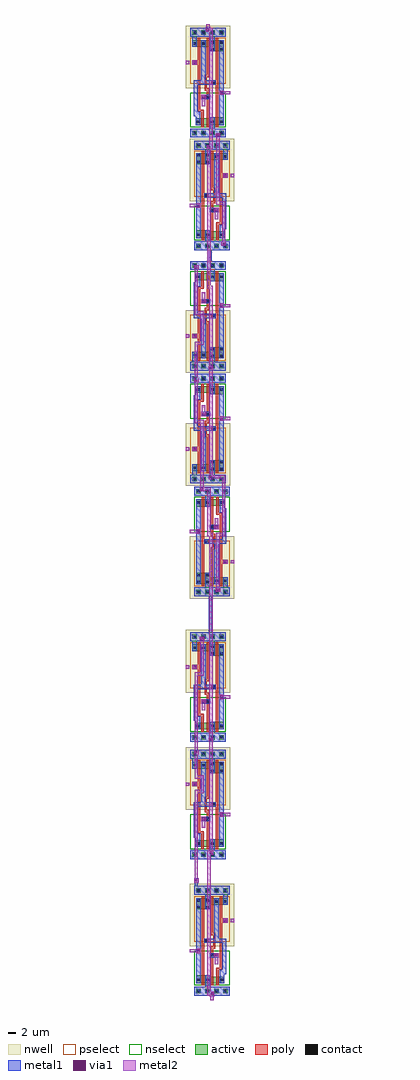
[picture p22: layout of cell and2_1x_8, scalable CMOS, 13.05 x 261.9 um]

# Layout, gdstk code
from math import pi, radians
import gdstk
lib = gdstk.Library(unit=1e-6, precision=1e-09)
def R(c, l, rs):  # rectangles x0, y0, x1, y1
    for r in rs: c.add(gdstk.rectangle(r[:2], r[2:], *l))
def A(c, l, x, y, w, h, nx, ny, dx, dy):  # array of equal rectangles
    R(c, l, [(x+i*dx, y+j*dy, x+i*dx+w, y+j*dy+h) for i in range(nx) for j in range(ny)])
def P(c, l, *ps):  # polygons
    for p in ps: c.add(gdstk.Polygon(p, *l))
contact = (25, 0)
nwell = (42, 0)
active = (43, 0)
pselect = (44, 0)
nselect = (45, 0)
poly = (46, 0)
metal1 = (49, 0)
via1 = (50, 0)
metal2 = (51, 0)

and2_1x = lib.new_cell('and2_1x')
A(and2_1x, contact, 0.9, -0.3, 0.6, 0.6, 4, 2, 2.4, 27)
R(and2_1x, contact, [(0.9,2.7,1.5,3.3), (3.3,2.7,3.9,3.3), (7.2,2.7,7.8,3.3), (4.5,9.3,5.1,9.9), (3,13.2,3.6,13.8), (8.1,18.6,8.7,19.2), (0.9,22.2,1.5,22.8), (3.3,22.2,3.9,22.8), (5.7,23.7,6.3,24.3), (8.1,23.7,8.7,24.3), (0.9,24,1.5,24.6), (3.3,24,3.9,24.6)])
R(and2_1x, nwell, [(-1.2,12,10.8,28.8)])
A(and2_1x, active, 0.6, -0.6, 1.2, 1.2, 4, 2, 2.4, 27)
P(and2_1x, active, [(9,24.9),(0.6,24.9),(0.6,21.9),(4.2,21.9),(4.2,23.1),(9,23.1)],
  [(8.1,3.9),(4.2,3.9),(4.2,4.2),(0.6,4.2),(0.6,2.1),(8.1,2.1)])
R(and2_1x, pselect, [(0,-1.2,9.6,1.2), (0,13.2,9.6,25.5)])
R(and2_1x, nselect, [(0,1.5,9.6,10.8), (0,25.8,9.6,28.2)])
P(and2_1x, poly, [(3.9,14.1),(2.7,14.1),(2.7,25.5),(2.1,25.5),(2.1,1.5),(2.7,1.5),(2.7,12.9),(3.9,12.9)],
  [(5.7,15.6),(5.1,15.6),(5.1,25.5),(4.5,25.5),(4.5,15),(5.1,15),(5.1,12),(4.5,12),(4.5,10.2),(4.2,10.2),(4.2,9),(4.5,9),(4.5,1.5),(5.1,1.5),(5.1,9),(5.4,9),(5.4,10.2),(5.1,10.2),(5.1,11.4),(5.7,11.4)],
  [(9,19.5),(7.5,19.5),(7.5,25.5),(6.9,25.5),(6.9,6.3),(6,6.3),(6,1.5),(6.6,1.5),(6.6,5.7),(7.5,5.7),(7.5,18.3),(9,18.3)])
R(and2_1x, metal1, [(0,-1.2,9.6,1.2), (0.6,2.1,1.8,24.9), (4.2,9,6.6,10.2), (7.8,18.3,9,19.5), (0,25.8,9.6,28.2)])
P(and2_1x, metal1, [(8.7,14.1),(6.6,14.1),(6.6,24.9),(5.4,24.9),(5.4,14.1),(2.7,14.1),(2.7,12.9),(7.5,12.9),(7.5,5.7),(6.9,5.7),(6.9,2.1),(8.1,2.1),(8.1,4.5),(8.7,4.5)],
  [(9.6,28.2),(0,28.2),(0,25.8),(3,25.8),(3,21.9),(4.2,21.9),(4.2,25.8),(7.8,25.8),(7.8,23.1),(9,23.1),(9,25.8),(9.6,25.8)],
  [(9.6,1.2),(4.2,1.2),(4.2,4.2),(3,4.2),(3,1.2),(0,1.2),(0,-1.2),(9.6,-1.2)])
R(and2_1x, via1, [(5.7,9.3,6.3,9.9), (0.9,10.5,1.5,11.1), (8.1,18.6,8.7,19.2)])
R(and2_1x, metal2, [(5.4,9,6.6,10.2), (0.6,10.2,1.8,11.4), (7.8,18.3,9,19.5)])

m2_m1_cdns_670792537452 = lib.new_cell('M2_M1_CDNS_670792537452')
R(m2_m1_cdns_670792537452, metal1, [(-0.6,-0.6,0.6,0.6)])
R(m2_m1_cdns_670792537452, via1, [(-0.3,-0.3,0.3,0.3)])
R(m2_m1_cdns_670792537452, metal2, [(-0.6,-0.6,0.6,0.6)])

and2_1x_8 = lib.new_cell('and2_1x_8')
R(and2_1x_8, metal2, [(5.55,0,6.45,0.9), (6.75,9.6,7.65,10.5), (0,12.75,0.9,13.65), (11.1,20.85,12,21.75), (3.3,46.2,4.2,47.1), (10.05,49.35,10.95,50.25), (-1.05,57.45,-0.15,58.35), (3.3,77.7,4.2,78.6), (10.05,80.85,10.95,81.75), (-1.05,88.95,-0.15,89.85), (11.1,117.15,12,118.05), (0,125.25,0.9,126.15), (6.75,128.4,7.65,129.3), (-1.05,147.45,-0.15,148.35), (10.05,155.55,10.95,156.45), (3.3,158.7,4.2,159.6), (-1.05,177.75,-0.15,178.65), (10.05,185.85,10.95,186.75), (3.3,189,4.2,189.9), (6.75,209.55,7.65,210.45), (0,212.7,0.9,213.6), (11.1,220.8,12,221.7), (3.3,239.85,4.2,240.75), (10.05,243,10.95,243.9), (-1.05,251.1,-0.15,252), (4.5,261,5.4,261.9)])
and2_1x_8.add(gdstk.FlexPath([(0.45,213.15),(2.55,213.15)], 0.9, ends="extended", simple_path=True, layer=51, datatype=0))  # metal2
and2_1x_8.add(gdstk.FlexPath([(7.2,210),(7.2,212.1)], 0.9, ends="extended", simple_path=True, layer=51, datatype=0))  # metal2
and2_1x_8.add(gdstk.FlexPath([(0.45,13.2),(2.55,13.2)], 0.9, ends="extended", simple_path=True, layer=51, datatype=0))  # metal2
and2_1x_8.add(gdstk.FlexPath([(7.2,10.05),(7.2,12.15)], 0.9, ends="extended", simple_path=True, layer=51, datatype=0))  # metal2
and2_1x_8.add(gdstk.FlexPath([(0.45,125.7),(2.55,125.7)], 0.9, ends="extended", simple_path=True, layer=51, datatype=0))  # metal2
and2_1x_8.add(gdstk.FlexPath([(7.2,128.85),(7.2,126.75)], 0.9, ends="extended", simple_path=True, layer=51, datatype=0))  # metal2
and2_1x_8.add(gdstk.FlexPath([(10.5,156),(8.4,156)], 0.9, ends="extended", simple_path=True, layer=51, datatype=0))  # metal2
and2_1x_8.add(gdstk.FlexPath([(3.75,159.15),(3.75,157.05)], 0.9, ends="extended", simple_path=True, layer=51, datatype=0))  # metal2
and2_1x_8.add(gdstk.FlexPath([(10.5,243.45),(8.4,243.45)], 0.9, ends="extended", simple_path=True, layer=51, datatype=0))  # metal2
and2_1x_8.add(gdstk.FlexPath([(3.75,240.3),(3.75,242.4)], 0.9, ends="extended", simple_path=True, layer=51, datatype=0))  # metal2
and2_1x_8.add(gdstk.FlexPath([(10.5,81.3),(8.4,81.3)], 0.9, ends="extended", simple_path=True, layer=51, datatype=0))  # metal2
and2_1x_8.add(gdstk.FlexPath([(3.75,78.15),(3.75,80.25)], 0.9, ends="extended", simple_path=True, layer=51, datatype=0))  # metal2
and2_1x_8.add(gdstk.FlexPath([(4.95,261.45),(4.95,260.4)], 0.9, ends=(0.45, 0.6), simple_path=True, layer=51, datatype=0))  # metal2
and2_1x_8.add(gdstk.FlexPath([(5.7,228.75),(5.25,228.75)], 0.9, ends=(0.45, 0.6), simple_path=True, layer=51, datatype=0))  # metal2
and2_1x_8.add(gdstk.FlexPath([(5.7,260.4),(5.7,228.75)], 0.9, ends="extended", simple_path=True, layer=51, datatype=0))  # metal2
and2_1x_8.add(gdstk.FlexPath([(4.95,260.4),(5.7,260.4)], 0.9, ends=(0.6, 0.45), simple_path=True, layer=51, datatype=0))  # metal2
and2_1x_8.add(gdstk.FlexPath([(7.65,124.95),(7.65,110.1)], 0.9, ends=(0.45, 0.6), simple_path=True, layer=51, datatype=0))  # metal2
and2_1x_8.add(gdstk.FlexPath([(9.15,124.95),(7.65,124.95)], 0.9, ends="extended", simple_path=True, layer=51, datatype=0))  # metal2
and2_1x_8.add(gdstk.FlexPath([(9.15,140.4),(9.15,124.95)], 0.9, ends="extended", simple_path=True, layer=51, datatype=0))  # metal2
and2_1x_8.add(gdstk.FlexPath([(5.7,140.4),(9.15,140.4)], 0.9, ends=(0.6, 0.45), simple_path=True, layer=51, datatype=0))  # metal2
and2_1x_8.add(gdstk.FlexPath([(1.8,59.85),(1.8,66.6)], 0.9, ends=(0.45, 0.6), simple_path=True, layer=51, datatype=0))  # metal2
and2_1x_8.add(gdstk.FlexPath([(3.3,59.85),(1.8,59.85)], 0.9, ends="extended", simple_path=True, layer=51, datatype=0))  # metal2
and2_1x_8.add(gdstk.FlexPath([(3.3,55.95),(3.3,59.85)], 0.9, ends="extended", simple_path=True, layer=51, datatype=0))  # metal2
and2_1x_8.add(gdstk.FlexPath([(1.8,55.95),(3.3,55.95)], 0.9, ends="extended", simple_path=True, layer=51, datatype=0))  # metal2
and2_1x_8.add(gdstk.FlexPath([(1.8,32.1),(1.8,55.95)], 0.9, ends=(0.6, 0.45), simple_path=True, layer=51, datatype=0))  # metal2
and2_1x_8.add(gdstk.FlexPath([(3.3,87.45),(3.3,96.9)], 0.9, ends=(0.45, 0.6), simple_path=True, layer=51, datatype=0))  # metal2
and2_1x_8.add(gdstk.FlexPath([(1.8,87.45),(3.3,87.45)], 0.9, ends="extended", simple_path=True, layer=51, datatype=0))  # metal2
and2_1x_8.add(gdstk.FlexPath([(1.8,66.6),(1.8,87.45)], 0.9, ends=(0.6, 0.45), simple_path=True, layer=51, datatype=0))  # metal2
and2_1x_8.add(gdstk.FlexPath([(5.7,169.5),(5.7,140.4)], 0.9, ends=(0.6, 0.6), simple_path=True, layer=51, datatype=0))  # metal2
and2_1x_8.add(gdstk.FlexPath([(5.7,191.25),(5.7,169.5)], 0.9, ends=(0.45, 0.6), simple_path=True, layer=51, datatype=0))  # metal2
and2_1x_8.add(gdstk.FlexPath([(5.25,191.25),(5.7,191.25)], 0.9, ends="extended", simple_path=True, layer=51, datatype=0))  # metal2
and2_1x_8.add(gdstk.FlexPath([(5.25,228.75),(5.25,191.25)], 0.9, ends=(0.6, 0.45), simple_path=True, layer=51, datatype=0))  # metal2
and2_1x_8.add(gdstk.FlexPath([(6,0.45),(6,1.65)], 0.9, ends=(0.45, 0.6), simple_path=True, layer=51, datatype=0))  # metal2
and2_1x_8.add(gdstk.FlexPath([(5.25,137.1),(3.3,137.1)], 0.9, ends=(0.45, 0.6), simple_path=True, layer=51, datatype=0))  # metal2
and2_1x_8.add(gdstk.FlexPath([(5.25,124.95),(5.25,137.1)], 0.9, ends="extended", simple_path=True, layer=51, datatype=0))  # metal2
and2_1x_8.add(gdstk.FlexPath([(5.7,124.95),(5.25,124.95)], 0.9, ends="extended", simple_path=True, layer=51, datatype=0))  # metal2
and2_1x_8.add(gdstk.FlexPath([(5.7,69.9),(5.7,124.95)], 0.9, ends=(0.6, 0.45), simple_path=True, layer=51, datatype=0))  # metal2
and2_1x_8.add(gdstk.FlexPath([(9.15,213.9),(9.15,202.95)], 0.9, ends=(0.45, 0.6), simple_path=True, layer=51, datatype=0))  # metal2
and2_1x_8.add(gdstk.FlexPath([(7.65,213.9),(9.15,213.9)], 0.9, ends="extended", simple_path=True, layer=51, datatype=0))  # metal2
and2_1x_8.add(gdstk.FlexPath([(7.65,232.05),(7.65,213.9)], 0.9, ends=(0.6, 0.45), simple_path=True, layer=51, datatype=0))  # metal2
and2_1x_8.add(gdstk.FlexPath([(1.8,184.35),(1.8,196.5)], 0.9, ends=(0.45, 0.6), simple_path=True, layer=51, datatype=0))  # metal2
and2_1x_8.add(gdstk.FlexPath([(3.3,184.35),(1.8,184.35)], 0.9, ends="extended", simple_path=True, layer=51, datatype=0))  # metal2
and2_1x_8.add(gdstk.FlexPath([(3.3,176.25),(3.3,184.35)], 0.9, ends="extended", simple_path=True, layer=51, datatype=0))  # metal2
and2_1x_8.add(gdstk.FlexPath([(1.8,176.25),(3.3,176.25)], 0.9, ends="extended", simple_path=True, layer=51, datatype=0))  # metal2
and2_1x_8.add(gdstk.FlexPath([(1.8,166.2),(1.8,176.25)], 0.9, ends=(0.6, 0.45), simple_path=True, layer=51, datatype=0))  # metal2
and2_1x_8.add(gdstk.FlexPath([(5.25,39.6),(5.7,39.6)], 0.9, ends=(0.45, 0.6), simple_path=True, layer=51, datatype=0))  # metal2
and2_1x_8.add(gdstk.FlexPath([(5.25,1.65),(5.25,39.6)], 0.9, ends="extended", simple_path=True, layer=51, datatype=0))  # metal2
and2_1x_8.add(gdstk.FlexPath([(6,1.65),(5.25,1.65)], 0.9, ends=(0.6, 0.45), simple_path=True, layer=51, datatype=0))  # metal2
and2_1x_8.add(gdstk.FlexPath([(1.8,155.25),(1.8,166.2)], 0.9, ends=(0.45, 0.6), simple_path=True, layer=51, datatype=0))  # metal2
and2_1x_8.add(gdstk.FlexPath([(3.3,155.25),(1.8,155.25)], 0.9, ends="extended", simple_path=True, layer=51, datatype=0))  # metal2
and2_1x_8.add(gdstk.FlexPath([(3.3,137.1),(3.3,155.25)], 0.9, ends=(0.6, 0.45), simple_path=True, layer=51, datatype=0))  # metal2
and2_1x_8.add(gdstk.FlexPath([(5.7,39.6),(5.7,69.9)], 0.9, ends=(0.6, 0.6), simple_path=True, layer=51, datatype=0))  # metal2
and2_1x_8.add(gdstk.FlexPath([(3.75,189.45),(3.75,187.35)], 0.9, ends="extended", simple_path=True, layer=51, datatype=0))  # metal2
and2_1x_8.add(gdstk.FlexPath([(3.75,46.65),(3.75,48.75)], 0.9, ends="extended", simple_path=True, layer=51, datatype=0))  # metal2
and2_1x_8.add(gdstk.FlexPath([(10.5,186.3),(8.4,186.3)], 0.9, ends="extended", simple_path=True, layer=51, datatype=0))  # metal2
and2_1x_8.add(gdstk.FlexPath([(10.5,49.8),(8.4,49.8)], 0.9, ends="extended", simple_path=True, layer=51, datatype=0))  # metal2
and2_1x_8.add(gdstk.FlexPath([(5.55,96.75),(5.55,110.25)], 0.9, ends="extended", simple_path=True, layer=49, datatype=0))  # metal1
and2_1x_8.add(gdstk.FlexPath([(1.8,30.6),(1.8,32.1)], 0.9, ends=(0.45, 0.6), simple_path=True, layer=49, datatype=0))  # metal1
and2_1x_8.add(gdstk.FlexPath([(5.55,203.1),(5.55,196.35)], 0.9, ends="extended", simple_path=True, layer=49, datatype=0))  # metal1
and2_1x_8.add(gdstk.Reference(and2_1x, (9.75,39), rotation=pi, x_reflection=True))
and2_1x_8.add(gdstk.Reference(and2_1x, (1.2,202.35)))
and2_1x_8.add(gdstk.Reference(and2_1x, (1.2,2.4)))
and2_1x_8.add(gdstk.Reference(and2_1x, (1.2,136.5), x_reflection=True))
and2_1x_8.add(gdstk.Reference(and2_1x, (9.75,166.8), rotation=pi))
and2_1x_8.add(gdstk.Reference(and2_1x, (9.75,232.65), rotation=pi, x_reflection=True))
and2_1x_8.add(gdstk.Reference(and2_1x, (9.75,70.5), rotation=pi, x_reflection=True))
and2_1x_8.add(gdstk.Reference(and2_1x, (9.75,197.1), rotation=pi))
and2_1x_8.add(gdstk.Reference(m2_m1_cdns_670792537452, (5.7,169.5)))
and2_1x_8.add(gdstk.Reference(m2_m1_cdns_670792537452, (7.65,110.1)))
and2_1x_8.add(gdstk.Reference(m2_m1_cdns_670792537452, (1.8,32.1)))
and2_1x_8.add(gdstk.Reference(m2_m1_cdns_670792537452, (5.25,228.75)))
and2_1x_8.add(gdstk.Reference(m2_m1_cdns_670792537452, (1.8,66.6)))
and2_1x_8.add(gdstk.Reference(m2_m1_cdns_670792537452, (3.3,96.9)))
and2_1x_8.add(gdstk.Reference(m2_m1_cdns_670792537452, (5.7,140.4)))
and2_1x_8.add(gdstk.Reference(m2_m1_cdns_670792537452, (4.95,260.4)))
and2_1x_8.add(gdstk.Reference(m2_m1_cdns_670792537452, (9.15,202.95)))
and2_1x_8.add(gdstk.Reference(m2_m1_cdns_670792537452, (7.65,232.05)))
and2_1x_8.add(gdstk.Reference(m2_m1_cdns_670792537452, (1.8,196.5)))
and2_1x_8.add(gdstk.Reference(m2_m1_cdns_670792537452, (3.3,137.1)))
and2_1x_8.add(gdstk.Reference(m2_m1_cdns_670792537452, (5.7,39.6)))
and2_1x_8.add(gdstk.Reference(m2_m1_cdns_670792537452, (1.8,166.2)))
and2_1x_8.add(gdstk.Reference(m2_m1_cdns_670792537452, (5.7,69.9)))
and2_1x_8.add(gdstk.Reference(m2_m1_cdns_670792537452, (6,1.65)))

lib.write_gds('and2_1x_8.gds')
